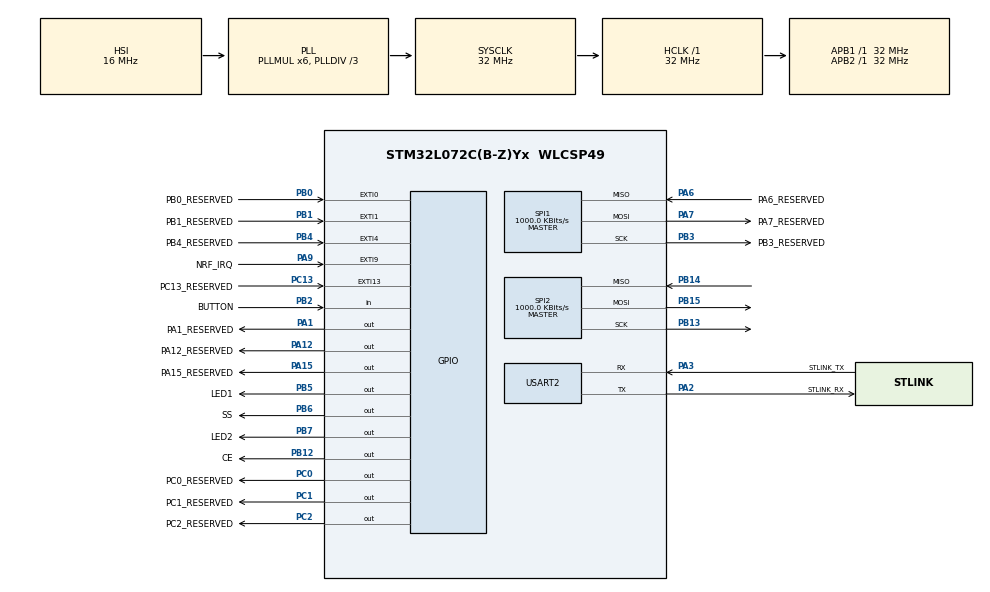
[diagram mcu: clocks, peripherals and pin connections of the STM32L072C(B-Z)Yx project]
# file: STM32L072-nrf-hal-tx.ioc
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Mcu.Family=STM32L0
Mcu.Name=STM32L072C(B-Z)Yx
Mcu.Package=WLCSP49
NVIC.EXTI0_1_IRQn=true\:0\:0\:false\:false\:true\:true\:true\:true
NVIC.EXTI4_15_IRQn=true\:0\:0\:false\:false\:true\:true\:true\:true
NVIC.RTC_IRQn=true\:0\:0\:false\:false\:true\:true\:true\:true
NVIC.USART2_IRQn=true\:0\:0\:false\:false\:true\:true\:true\:true
PA1.GPIO_Label=PA1_RESERVED
PA1.GPIO_Speed=GPIO_SPEED_FREQ_HIGH
PA1.PinState=GPIO_PIN_RESET
PA1.Signal=GPIO_Output
PA12.GPIO_Label=PA12_RESERVED
PA12.GPIO_Speed=GPIO_SPEED_FREQ_HIGH
PA12.Signal=GPIO_Output
PA15.GPIO_Label=PA15_RESERVED
PA15.GPIO_Speed=GPIO_SPEED_FREQ_HIGH
PA15.Signal=GPIO_Output
PA2.GPIO_Label=STLINK_RX
PA2.Mode=Asynchronous
PA2.Signal=USART2_TX
PA3.GPIO_Label=STLINK_TX
PA3.Mode=Asynchronous
PA3.Signal=USART2_RX
PA6.GPIO_Label=PA6_RESERVED
PA6.Mode=Full_Duplex_Master
PA6.Signal=SPI1_MISO
PA7.GPIO_Label=PA7_RESERVED
PA7.Mode=Full_Duplex_Master
PA7.Signal=SPI1_MOSI
PA9.GPIO_Label=NRF_IRQ
PA9.GPIO_ModeDefaultEXTI=GPIO_MODE_IT_FALLING
PA9.GPIO_PuPd=GPIO_PULLUP
PA9.Signal=GPXTI9
PB0.GPIO_Label=PB0_RESERVED
PB0.Signal=GPXTI0
PB1.GPIO_Label=PB1_RESERVED
PB1.Signal=GPXTI1
PB12.GPIO_Label=CE
PB12.Signal=GPIO_Output
PB13.Mode=Full_Duplex_Master
PB13.Signal=SPI2_SCK
PB14.Mode=Full_Duplex_Master
PB14.Signal=SPI2_MISO
PB15.Mode=Full_Duplex_Master
PB15.Signal=SPI2_MOSI
PB2.GPIO_Label=BUTTON
PB2.GPIO_PuPd=GPIO_PULLUP
PB2.Signal=GPIO_Input
PB3.GPIO_Label=PB3_RESERVED
PB3.Mode=Full_Duplex_Master
PB3.Signal=SPI1_SCK
PB4.GPIO_Label=PB4_RESERVED
PB4.Signal=GPXTI4
PB5.GPIO_Label=LED1
PB5.Signal=GPIO_Output
PB6.GPIO_Label=SS
PB6.PinState=GPIO_PIN_SET
PB6.Signal=GPIO_Output
PB7.GPIO_Label=LED2
PB7.Signal=GPIO_Output
PC0.GPIO_Label=PC0_RESERVED
PC0.GPIO_Speed=GPIO_SPEED_FREQ_HIGH
PC0.Signal=GPIO_Output
PC1.GPIO_Label=PC1_RESERVED
PC1.GPIO_Speed=GPIO_SPEED_FREQ_HIGH
PC1.Signal=GPIO_Output
PC13.GPIO_Label=PC13_RESERVED
PC13.Signal=GPXTI13
PC2.GPIO_Label=PC2_RESERVED
PC2.GPIO_Speed=GPIO_SPEED_FREQ_HIGH
PC2.Signal=GPIO_Output
PH0-OSC_IN.Signal=RCC_OSC_IN
PH1-OSC_OUT.Signal=RCC_OSC_OUT
ProjectManager.HeapSize=0x200
ProjectManager.StackSize=0x400
ProjectManager.TargetToolchain=STM32CubeIDE
RCC.AHBFreq_Value=32000000
RCC.APB1Freq_Value=32000000
RCC.APB1TimFreq_Value=32000000
RCC.APB2Freq_Value=32000000
RCC.APB2TimFreq_Value=32000000
RCC.HCLKFreq_Value=32000000
RCC.HSE_VALUE=8000000
RCC.HSI16_VALUE=16000000
RCC.HSI48_VALUE=48000000
RCC.HSI_VALUE=16000000
RCC.LSE_VALUE=32768
RCC.MSI_VALUE=2097000
RCC.PLLDIV=RCC_PLLDIV_3
RCC.PLLMUL=RCC_PLLMUL_6
RCC.SYSCLKFreq_VALUE=32000000
RCC.SYSCLKSource=RCC_SYSCLKSOURCE_PLLCLK
RCC.VCOOutputFreq_Value=96000000
RTC.Alarm-Alarm\ A=RTC_ALARM_A
RTC.AlarmSubSecondMask-Alarm\ A=RTC_ALARMSUBSECONDMASK_NONE
RTC.AsynchPrediv=31
RTC.Format=RTC_FORMAT_BIN
RTC.SynchPrediv=1023
SPI1.BaudRatePrescaler=SPI_BAUDRATEPRESCALER_32
SPI1.CalculateBaudRate=1000.0 KBits/s
SPI1.Direction=SPI_DIRECTION_2LINES
SPI1.Mode=SPI_MODE_MASTER
SPI1.VirtualType=VM_MASTER
SPI2.BaudRatePrescaler=SPI_BAUDRATEPRESCALER_32
SPI2.CalculateBaudRate=1000.0 KBits/s
SPI2.Direction=SPI_DIRECTION_2LINES
SPI2.Mode=SPI_MODE_MASTER
SPI2.VirtualType=VM_MASTER
USART2.VirtualMode-Asynchronous=VM_ASYNC
VP_RTC_VS_RTC_Activate.Mode=RTC_Enabled
VP_RTC_VS_RTC_Alarm_A_Intern.Mode=Alarm A
VP_RTC_VS_RTC_Calendar.Mode=RTC_Calendar
board=B-L072Z-LRWAN1

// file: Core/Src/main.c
/* USER CODE BEGIN Header */
/**
  ******************************************************************************
  * @file           : main.c
  * @brief          : Main program body
  ******************************************************************************
  * @attention
  *
  * Copyright (c) 2022 STMicroelectronics.
  * All rights reserved.
  *
  * This software is licensed under terms that can be found in the LICENSE file
  * in the root directory of this software component.
  * If no LICENSE file comes with this software, it is provided AS-IS.
  *
  ******************************************************************************
  */
/* USER CODE END Header */
#include "main.h"

/* USER CODE BEGIN Includes */
#include <stdio.h>
#include "nrf_hal_stm32.h"
/* USER CODE END Includes */

/* USER CODE BEGIN PD */
#define chip_enable() HAL_GPIO_WritePin(GPIOB, CE_Pin, GPIO_PIN_SET);
#define chip_disable() HAL_GPIO_WritePin(GPIOB, CE_Pin, GPIO_PIN_RESET);
#define _BIT(n) (1U<<(n))
/* USER CODE END PD */

/* USER CODE BEGIN PM */
#define CHANNEL 20
/* USER CODE END PM */

 RTC_HandleTypeDef hrtc;

SPI_HandleTypeDef hspi1;
SPI_HandleTypeDef hspi2;

UART_HandleTypeDef huart2;

/* USER CODE BEGIN PV */
volatile uint8_t status;
/* USER CODE END PV */

void SystemClock_Config(void);
static void MX_GPIO_Init(void);
static void MX_RTC_Init(void);
static void MX_SPI1_Init(void);
static void MX_USART2_UART_Init(void);
static void MX_SPI2_Init(void);
/* USER CODE BEGIN PFP */
void init_tx(void);
/* USER CODE END PFP */

int main(void)
{
  /* USER CODE BEGIN 1 */
	char serial_buf[26];
	uint8_t tx_pld[NRF_MAX_PL] = {};
	int count = 0;
  /* USER CODE END 1 */

  /* MCU Configuration--------------------------------------------------------*/

  /* Reset of all peripherals, Initializes the Flash interface and the Systick. */
  HAL_Init();

  /* Configure the system clock */
  SystemClock_Config();

  /* Initialize all configured peripherals */
  MX_GPIO_Init();
  MX_RTC_Init();
  MX_SPI1_Init();
  MX_USART2_UART_Init();
  MX_SPI2_Init();
  /* USER CODE BEGIN 2 */
  HAL_GPIO_WritePin(LED1_GPIO_Port, LED1_Pin, GPIO_PIN_RESET);
  init_tx();

  /* USER CODE END 2 */

  /* Infinite loop */
  /* USER CODE BEGIN WHILE */
  while (1)
  {
	  HAL_GPIO_WritePin(LED1_GPIO_Port, LED1_Pin, GPIO_PIN_SET);
	  while(HAL_GPIO_ReadPin(BUTTON_GPIO_Port, BUTTON_Pin));
	  HAL_Delay(100);
	  HAL_GPIO_WritePin(LED1_GPIO_Port, LED1_Pin, GPIO_PIN_RESET);
	  sprintf(serial_buf, "BUTTON PRESS COUNT: %d  \r\n", count);
	  HAL_UART_Transmit(&huart2,(uint8_t*) serial_buf, sizeof(serial_buf), HAL_MAX_DELAY);
	  char ibuf[10];

	  tx_pld[0] = 0xAB;
	  sprintf(ibuf, "%d", count);
	  sprintf((char *)&tx_pld[1], "stm-msg no. %s", ibuf);
	  hal_nrf_write_tx_payload(tx_pld, sizeof(tx_pld));

	  hal_nrf_get_clear_irq_flags();

	  hal_nrf_set_power_mode(HAL_NRF_PWR_UP);
	  HAL_Delay(2);
	  chip_enable();
	  HAL_Delay(1);
	  chip_disable();
    /* USER CODE END WHILE */

    /* USER CODE BEGIN 3 */
	  int break_flag = 0;
	  for (int i=0; i<20; i++)
	  {
		  status = hal_nrf_nop();
		  if(status & (uint8_t)_BIT(HAL_NRF_MAX_RT))
		  {
			  sprintf(serial_buf, "MAX RETRIES DONE      \r\n");
			  HAL_UART_Transmit(&huart2,(uint8_t*) serial_buf, sizeof(serial_buf), HAL_MAX_DELAY);
			  hal_nrf_clear_irq_flag(HAL_NRF_MAX_RT);
			  break_flag++;
		  }
		  if(status & (uint8_t)_BIT(HAL_NRF_TX_DS))
		  {
			  sprintf(serial_buf, "DATA SENT SUCCESSFULLY\r\n");
			  HAL_UART_Transmit(&huart2,(uint8_t*) serial_buf, sizeof(serial_buf), HAL_MAX_DELAY);
			  hal_nrf_clear_irq_flag(HAL_NRF_TX_DS);
			  break_flag++;
		  }
		  if(status & (uint8_t)_BIT(HAL_NRF_RX_DR))
		  {
			  sprintf(serial_buf, "NEW DATA ARRIVED\r\n");
			  HAL_UART_Transmit(&huart2,(uint8_t*) serial_buf, sizeof(serial_buf), HAL_MAX_DELAY);
			  hal_nrf_clear_irq_flag(HAL_NRF_RX_DR);
			  break_flag++;
		  }
		  if(break_flag){break_flag = 0; break;}
	  }
	  hal_nrf_set_power_mode(HAL_NRF_PWR_DOWN);
	  count++;
	  if(hal_nrf_get_tx_fifo_status() == 0x02)
	  {
		  sprintf(serial_buf, "TX FIFO FULL: FLUSHING\r\n");
		  HAL_UART_Transmit(&huart2,(uint8_t*) serial_buf, sizeof(serial_buf), HAL_MAX_DELAY);
		  hal_nrf_flush_tx();
	  }
	  HAL_Delay(1000);
  }
  /* USER CODE END 3 */
}

void SystemClock_Config(void)
{
  RCC_OscInitTypeDef RCC_OscInitStruct = {0};
  RCC_ClkInitTypeDef RCC_ClkInitStruct = {0};
  RCC_PeriphCLKInitTypeDef PeriphClkInit = {0};

  /** Configure the main internal regulator output voltage
  */
  __HAL_PWR_VOLTAGESCALING_CONFIG(PWR_REGULATOR_VOLTAGE_SCALE1);

  /** Initializes the RCC Oscillators according to the specified parameters
  * in the RCC_OscInitTypeDef structure.
  */
  RCC_OscInitStruct.OscillatorType = RCC_OSCILLATORTYPE_HSI|RCC_OSCILLATORTYPE_LSI;
  RCC_OscInitStruct.HSIState = RCC_HSI_ON;
  RCC_OscInitStruct.HSICalibrationValue = RCC_HSICALIBRATION_DEFAULT;
  RCC_OscInitStruct.LSIState = RCC_LSI_ON;
  RCC_OscInitStruct.PLL.PLLState = RCC_PLL_ON;
  RCC_OscInitStruct.PLL.PLLSource = RCC_PLLSOURCE_HSI;
  RCC_OscInitStruct.PLL.PLLMUL = RCC_PLLMUL_6;
  RCC_OscInitStruct.PLL.PLLDIV = RCC_PLLDIV_3;
  if (HAL_RCC_OscConfig(&RCC_OscInitStruct) != HAL_OK)
  {
    Error_Handler();
  }

  /** Initializes the CPU, AHB and APB buses clocks
  */
  RCC_ClkInitStruct.ClockType = RCC_CLOCKTYPE_HCLK|RCC_CLOCKTYPE_SYSCLK
                              |RCC_CLOCKTYPE_PCLK1|RCC_CLOCKTYPE_PCLK2;
  RCC_ClkInitStruct.SYSCLKSource = RCC_SYSCLKSOURCE_PLLCLK;
  RCC_ClkInitStruct.AHBCLKDivider = RCC_SYSCLK_DIV1;
  RCC_ClkInitStruct.APB1CLKDivider = RCC_HCLK_DIV1;
  RCC_ClkInitStruct.APB2CLKDivider = RCC_HCLK_DIV1;

  if (HAL_RCC_ClockConfig(&RCC_ClkInitStruct, FLASH_LATENCY_1) != HAL_OK)
  {
    Error_Handler();
  }
  PeriphClkInit.PeriphClockSelection = RCC_PERIPHCLK_USART2|RCC_PERIPHCLK_RTC;
  PeriphClkInit.Usart2ClockSelection = RCC_USART2CLKSOURCE_PCLK1;
  PeriphClkInit.RTCClockSelection = RCC_RTCCLKSOURCE_LSI;
  if (HAL_RCCEx_PeriphCLKConfig(&PeriphClkInit) != HAL_OK)
  {
    Error_Handler();
  }
}

static void MX_RTC_Init(void)
{

  RTC_TimeTypeDef sTime = {0};
  RTC_DateTypeDef sDate = {0};
  RTC_AlarmTypeDef sAlarm = {0};

  /** Initialize RTC Only
  */
  hrtc.Instance = RTC;
  hrtc.Init.HourFormat = RTC_HOURFORMAT_24;
  hrtc.Init.AsynchPrediv = 31;
  hrtc.Init.SynchPrediv = 1023;
  hrtc.Init.OutPut = RTC_OUTPUT_DISABLE;
  hrtc.Init.OutPutRemap = RTC_OUTPUT_REMAP_NONE;
  hrtc.Init.OutPutPolarity = RTC_OUTPUT_POLARITY_HIGH;
  hrtc.Init.OutPutType = RTC_OUTPUT_TYPE_OPENDRAIN;
  if (HAL_RTC_Init(&hrtc) != HAL_OK)
  {
    Error_Handler();
  }

  /** Initialize RTC and set the Time and Date
  */
  sTime.Hours = 0;
  sTime.Minutes = 0;
  sTime.Seconds = 0;
  sTime.DayLightSaving = RTC_DAYLIGHTSAVING_NONE;
  sTime.StoreOperation = RTC_STOREOPERATION_RESET;
  if (HAL_RTC_SetTime(&hrtc, &sTime, RTC_FORMAT_BIN) != HAL_OK)
  {
    Error_Handler();
  }
  sDate.WeekDay = RTC_WEEKDAY_MONDAY;
  sDate.Month = RTC_MONTH_JANUARY;
  sDate.Date = 1;
  sDate.Year = 0;

  if (HAL_RTC_SetDate(&hrtc, &sDate, RTC_FORMAT_BIN) != HAL_OK)
  {
    Error_Handler();
  }

  /** Enable the Alarm A
  */
  sAlarm.AlarmTime.Hours = 0;
  sAlarm.AlarmTime.Minutes = 0;
  sAlarm.AlarmTime.Seconds = 0;
  sAlarm.AlarmTime.SubSeconds = 0;
  sAlarm.AlarmTime.DayLightSaving = RTC_DAYLIGHTSAVING_NONE;
  sAlarm.AlarmTime.StoreOperation = RTC_STOREOPERATION_RESET;
  sAlarm.AlarmMask = RTC_ALARMMASK_NONE;
  sAlarm.AlarmSubSecondMask = RTC_ALARMSUBSECONDMASK_NONE;
  sAlarm.AlarmDateWeekDaySel = RTC_ALARMDATEWEEKDAYSEL_DATE;
  sAlarm.AlarmDateWeekDay = 1;
  sAlarm.Alarm = RTC_ALARM_A;
  if (HAL_RTC_SetAlarm_IT(&hrtc, &sAlarm, RTC_FORMAT_BIN) != HAL_OK)
  {
    Error_Handler();
  }

}

static void MX_SPI1_Init(void)
{

  /* SPI1 parameter configuration*/
  hspi1.Instance = SPI1;
  hspi1.Init.Mode = SPI_MODE_MASTER;
  hspi1.Init.Direction = SPI_DIRECTION_2LINES;
  hspi1.Init.DataSize = SPI_DATASIZE_8BIT;
  hspi1.Init.CLKPolarity = SPI_POLARITY_LOW;
  hspi1.Init.CLKPhase = SPI_PHASE_1EDGE;
  hspi1.Init.NSS = SPI_NSS_SOFT;
  hspi1.Init.BaudRatePrescaler = SPI_BAUDRATEPRESCALER_32;
  hspi1.Init.FirstBit = SPI_FIRSTBIT_MSB;
  hspi1.Init.TIMode = SPI_TIMODE_DISABLE;
  hspi1.Init.CRCCalculation = SPI_CRCCALCULATION_DISABLE;
  hspi1.Init.CRCPolynomial = 7;
  if (HAL_SPI_Init(&hspi1) != HAL_OK)
  {
    Error_Handler();
  }

}

static void MX_SPI2_Init(void)
{

  /* SPI2 parameter configuration*/
  hspi2.Instance = SPI2;
  hspi2.Init.Mode = SPI_MODE_MASTER;
  hspi2.Init.Direction = SPI_DIRECTION_2LINES;
  hspi2.Init.DataSize = SPI_DATASIZE_8BIT;
  hspi2.Init.CLKPolarity = SPI_POLARITY_LOW;
  hspi2.Init.CLKPhase = SPI_PHASE_1EDGE;
  hspi2.Init.NSS = SPI_NSS_SOFT;
  hspi2.Init.BaudRatePrescaler = SPI_BAUDRATEPRESCALER_32;
  hspi2.Init.FirstBit = SPI_FIRSTBIT_MSB;
  hspi2.Init.TIMode = SPI_TIMODE_DISABLE;
  hspi2.Init.CRCCalculation = SPI_CRCCALCULATION_DISABLE;
  hspi2.Init.CRCPolynomial = 7;
  if (HAL_SPI_Init(&hspi2) != HAL_OK)
  {
    Error_Handler();
  }

}

static void MX_USART2_UART_Init(void)
{

  huart2.Instance = USART2;
  huart2.Init.BaudRate = 115200;
  huart2.Init.WordLength = UART_WORDLENGTH_8B;
  huart2.Init.StopBits = UART_STOPBITS_1;
  huart2.Init.Parity = UART_PARITY_NONE;
  huart2.Init.Mode = UART_MODE_TX_RX;
  huart2.Init.HwFlowCtl = UART_HWCONTROL_NONE;
  huart2.Init.OverSampling = UART_OVERSAMPLING_16;
  huart2.Init.OneBitSampling = UART_ONE_BIT_SAMPLE_DISABLE;
  huart2.AdvancedInit.AdvFeatureInit = UART_ADVFEATURE_NO_INIT;
  if (HAL_UART_Init(&huart2) != HAL_OK)
  {
    Error_Handler();
  }

}

static void MX_GPIO_Init(void)
{
  GPIO_InitTypeDef GPIO_InitStruct = {0};

  /* GPIO Ports Clock Enable */
  __HAL_RCC_GPIOA_CLK_ENABLE();
  __HAL_RCC_GPIOB_CLK_ENABLE();
  __HAL_RCC_GPIOC_CLK_ENABLE();
  __HAL_RCC_GPIOH_CLK_ENABLE();

  /*Configure GPIO pin Output Level */
  HAL_GPIO_WritePin(GPIOA, PA15_RESERVED_Pin|PA12_RESERVED_Pin|PA1_RESERVED_Pin, GPIO_PIN_RESET);

  /*Configure GPIO pin Output Level */
  HAL_GPIO_WritePin(GPIOB, LED1_Pin|LED2_Pin|CE_Pin, GPIO_PIN_RESET);

  /*Configure GPIO pin Output Level */
  HAL_GPIO_WritePin(SS_GPIO_Port, SS_Pin, GPIO_PIN_SET);

  /*Configure GPIO pin Output Level */
  HAL_GPIO_WritePin(GPIOC, PC1_RESERVED_Pin|PC0_RESERVED_Pin|PC2_RESERVED_Pin, GPIO_PIN_RESET);

  /*Configure GPIO pins : PA15_RESERVED_Pin PA12_RESERVED_Pin PA1_RESERVED_Pin */
  GPIO_InitStruct.Pin = PA15_RESERVED_Pin|PA12_RESERVED_Pin|PA1_RESERVED_Pin;
  GPIO_InitStruct.Mode = GPIO_MODE_OUTPUT_PP;
  GPIO_InitStruct.Pull = GPIO_NOPULL;
  GPIO_InitStruct.Speed = GPIO_SPEED_FREQ_HIGH;
  HAL_GPIO_Init(GPIOA, &GPIO_InitStruct);

  /*Configure GPIO pins : LED1_Pin SS_Pin LED2_Pin CE_Pin */
  GPIO_InitStruct.Pin = LED1_Pin|SS_Pin|LED2_Pin|CE_Pin;
  GPIO_InitStruct.Mode = GPIO_MODE_OUTPUT_PP;
  GPIO_InitStruct.Pull = GPIO_NOPULL;
  GPIO_InitStruct.Speed = GPIO_SPEED_FREQ_LOW;
  HAL_GPIO_Init(GPIOB, &GPIO_InitStruct);

  /*Configure GPIO pins : PB4_RESERVED_Pin PB1_RESERVED_Pin PB0_RESERVED_Pin */
  GPIO_InitStruct.Pin = PB4_RESERVED_Pin|PB1_RESERVED_Pin|PB0_RESERVED_Pin;
  GPIO_InitStruct.Mode = GPIO_MODE_IT_RISING;
  GPIO_InitStruct.Pull = GPIO_NOPULL;
  HAL_GPIO_Init(GPIOB, &GPIO_InitStruct);

  /*Configure GPIO pin : PC13_RESERVED_Pin */
  GPIO_InitStruct.Pin = PC13_RESERVED_Pin;
  GPIO_InitStruct.Mode = GPIO_MODE_IT_RISING;
  GPIO_InitStruct.Pull = GPIO_NOPULL;
  HAL_GPIO_Init(PC13_RESERVED_GPIO_Port, &GPIO_InitStruct);

  /*Configure GPIO pins : PC1_RESERVED_Pin PC0_RESERVED_Pin PC2_RESERVED_Pin */
  GPIO_InitStruct.Pin = PC1_RESERVED_Pin|PC0_RESERVED_Pin|PC2_RESERVED_Pin;
  GPIO_InitStruct.Mode = GPIO_MODE_OUTPUT_PP;
  GPIO_InitStruct.Pull = GPIO_NOPULL;
  GPIO_InitStruct.Speed = GPIO_SPEED_FREQ_HIGH;
  HAL_GPIO_Init(GPIOC, &GPIO_InitStruct);

  /*Configure GPIO pin : NRF_IRQ_Pin */
  GPIO_InitStruct.Pin = NRF_IRQ_Pin;
  GPIO_InitStruct.Mode = GPIO_MODE_IT_FALLING;
  GPIO_InitStruct.Pull = GPIO_PULLUP;
  HAL_GPIO_Init(NRF_IRQ_GPIO_Port, &GPIO_InitStruct);

  /*Configure GPIO pin : BUTTON_Pin */
  GPIO_InitStruct.Pin = BUTTON_Pin;
  GPIO_InitStruct.Mode = GPIO_MODE_INPUT;
  GPIO_InitStruct.Pull = GPIO_PULLUP;
  HAL_GPIO_Init(BUTTON_GPIO_Port, &GPIO_InitStruct);

  /* EXTI interrupt init*/
  HAL_NVIC_SetPriority(EXTI0_1_IRQn, 0, 0);
  HAL_NVIC_EnableIRQ(EXTI0_1_IRQn);

  HAL_NVIC_SetPriority(EXTI4_15_IRQn, 0, 0);
  HAL_NVIC_EnableIRQ(EXTI4_15_IRQn);

}

/* USER CODE BEGIN 4 */
void init_tx(void)
{
  uint8_t addr[5];
  hal_nrf_init(&hspi2, HAL_MAX_DELAY);
  hal_nrf_flush_rx();
  hal_nrf_flush_tx();

  hal_nrf_set_rf_channel(CHANNEL);
  hal_nrf_set_datarate(HAL_NRF_1MBPS);
  hal_nrf_set_crc_mode(HAL_NRF_CRC_16BIT);
  hal_nrf_set_irq_mode(HAL_NRF_MAX_RT, 1);
  hal_nrf_set_irq_mode(HAL_NRF_TX_DS, 1);
  hal_nrf_set_irq_mode(HAL_NRF_RX_DR, 1);

  hal_nrf_set_operation_mode(HAL_NRF_PTX);
  hal_nrf_config_tx(NULL, HAL_NRF_0DBM, 15, 4000);
  char sp_buf[26];

  sprintf(sp_buf, "SETUP RETRY: %02X        \r\n", hal_nrf_read_reg(SETUP_RETR));
  HAL_UART_Transmit(&huart2,(uint8_t*)sp_buf, 26, HAL_MAX_DELAY);

  hal_nrf_get_address(HAL_NRF_PIPE0, addr);
  sprintf(sp_buf, "P0 addr: %02X:%02X:%02X:%02X:%02X\r\n", addr[0], addr[1], addr[2], addr[3], addr[4]);
  HAL_UART_Transmit(&huart2,(uint8_t*)sp_buf, 26, HAL_MAX_DELAY);

  hal_nrf_get_address(HAL_NRF_TX, addr);
  sprintf(sp_buf, "TX addr: %02X:%02X:%02X:%02X:%02X\r\n", addr[0], addr[1], addr[2], addr[3], addr[4]);
  HAL_UART_Transmit(&huart2,(uint8_t*) sp_buf, 26, HAL_MAX_DELAY);

  sprintf(sp_buf, "CONFIG REGISTER: %02X    \r\n", hal_nrf_read_reg(CONFIG));
  HAL_UART_Transmit(&huart2,(uint8_t*) sp_buf, 26, HAL_MAX_DELAY);

  HAL_GPIO_WritePin(LED1_GPIO_Port, LED1_Pin, GPIO_PIN_SET);
}

void HAL_GPIO_EXTI_Callback(uint16_t GPIO_Pin)
{
	if(GPIO_Pin == NRF_IRQ_Pin)
	{
		char serial_buf[25] = {};
		status = hal_nrf_nop();
		sprintf(serial_buf, "INSIDE INTERRUPT      \r\n");
		HAL_UART_Transmit(&huart2,(uint8_t*) serial_buf, sizeof(serial_buf), HAL_MAX_DELAY);
	    if(status & (uint8_t)_BIT(HAL_NRF_MAX_RT))
	    {
		  sprintf(serial_buf, "MAX RETRIES DONE      \r\n");
		  HAL_UART_Transmit(&huart2,(uint8_t*) serial_buf, sizeof(serial_buf), HAL_MAX_DELAY);
		  hal_nrf_clear_irq_flag(HAL_NRF_MAX_RT);
	    }
	    if(status & (uint8_t)_BIT(HAL_NRF_TX_DS))
	    {
		  sprintf(serial_buf, "DATA SENT SUCCESSFULLY\r\n");
		  HAL_UART_Transmit(&huart2,(uint8_t*) serial_buf, sizeof(serial_buf), HAL_MAX_DELAY);
		  hal_nrf_clear_irq_flag(HAL_NRF_TX_DS);
	    }
	    if(status & (uint8_t)_BIT(HAL_NRF_RX_DR))
	    {
		  sprintf(serial_buf, "NEW DATA ARRIVED\r\n");
		  HAL_UART_Transmit(&huart2,(uint8_t*) serial_buf, sizeof(serial_buf), HAL_MAX_DELAY);
		  hal_nrf_clear_irq_flag(HAL_NRF_RX_DR);
	    }
	    sprintf(serial_buf, "STATUS REGISTER  :  %02X\r\n", hal_nrf_nop());
	    HAL_UART_Transmit(&huart2,(uint8_t*) serial_buf, sizeof(serial_buf), HAL_MAX_DELAY);
	    hal_nrf_get_clear_irq_flags();
	    HAL_Delay(10);
	 }
}
/* USER CODE END 4 */

void Error_Handler(void)
{
  __disable_irq();
  while (1)
  {
  }
}
